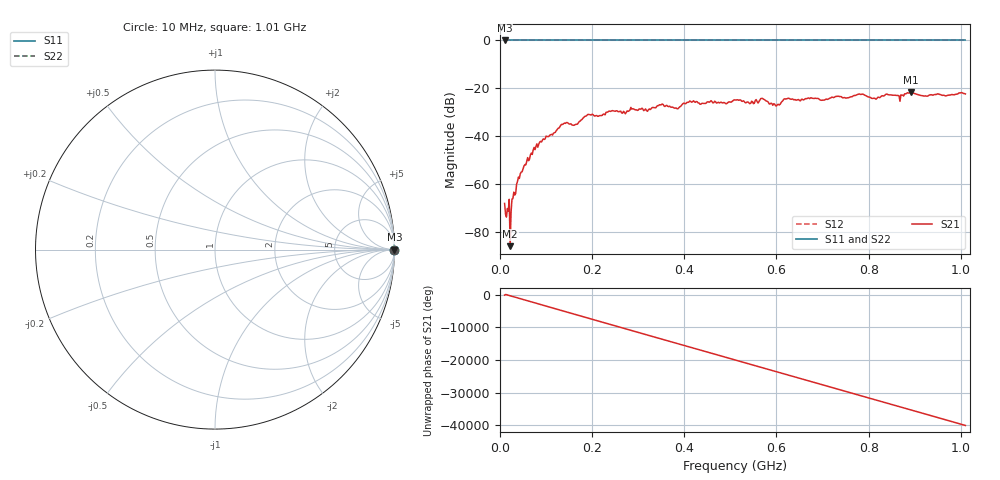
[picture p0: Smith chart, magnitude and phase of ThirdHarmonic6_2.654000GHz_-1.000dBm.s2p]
! 8/17/2025 6:04:40 AM
! C:\ANRITSUVNA\TEMP\TEMP.S2P
! CHANNEL.1
! TR.MEASUREMENT
! RAW.DATA
! RF.CORRECTION.OFF
! AVERAGING.OFF
! IF.BANDWIDTH: 5KHZ
! SWEEPTYPE:  FREQ.SWEEP(Linear)
! Reference Plane Port Info
! PORT:  PORT1  PORT2
! DISTANCE:  0  m  0  m
! TIME:  0  s  0  s
! PHASE.OFFSET:  0  deg.  0  deg.
! LOSS:  0  dB  0  dB
! REF.LOSS:  0  dB  0  dB
! REF.FREQ:  0  Hz  0  Hz
! Power Info
! POWER:  -20  dBm  -20  dBm
! EFF.POWER:  -20  dBm  -20  dBm
! SOURCE.ATTEN:  0  dB  0  dB
! TEST.ATTEN:  0  dB  0  dB
# GHZ S RI R 50.0
! FREQ.GHZ  S11RE  S11IM  S21RE  S21IM  S12RE  S12IM  S22RE  S22IM
!; PortSelection: Port_12
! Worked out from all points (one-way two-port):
!   501 points, 10 MHz to 1.01 GHz, reference 50 ohm
!   highest |S21| = -21.69 dB at 892 MHz (marker M1); lowest = -85.8 dB at 22 MHz (marker M2)
!   lowest |S11| = 0.0 dB at 10 MHz (marker M3)
!   |S11| at or under -10 dB: nowhere
!   |S22| runs from 0.0 to 0.0 dB; largest |S21 - S12| = 1.1
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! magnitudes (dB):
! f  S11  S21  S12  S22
! 10 MHz  0.0  -68.0  0.0  0.0
! 18 MHz  0.0  -71.2  0.0  0.0
! 22 MHz  0.0  -85.8  0.0  0.0
! 42 MHz  0.0  -57.5  0.0  0.0
! 76 MHz  0.0  -45.5  0.0  0.0
! 136 MHz  0.0  -35.0  0.0  0.0
! 164 MHz  0.0  -35.0  0.0  0.0
! 178 MHz  0.0  -32.9  0.0  0.0
! 192 MHz  0.0  -30.8  0.0  0.0
! 344 MHz  0.0  -27.2  0.0  0.0
! 384 MHz  0.0  -28.4  0.0  0.0
! 416 MHz  0.0  -25.8  0.0  0.0
! 510 MHz  0.0  -24.8  0.0  0.0
! 546 MHz  0.0  -25.4  0.0  0.0
! 570 MHz  0.0  -24.2  0.0  0.0
! 602 MHz  0.0  -26.7  0.0  0.0
! 620 MHz  0.0  -24.4  0.0  0.0
! 678 MHz  0.0  -24.1  0.0  0.0
! 814 MHz  0.0  -24.2  0.0  0.0
! 844 MHz  0.0  -22.7  0.0  0.0
! 892 MHz  0.0  -21.7  0.0  0.0
! 1.01 GHz  0.0  -22.3  0.0  0.0
